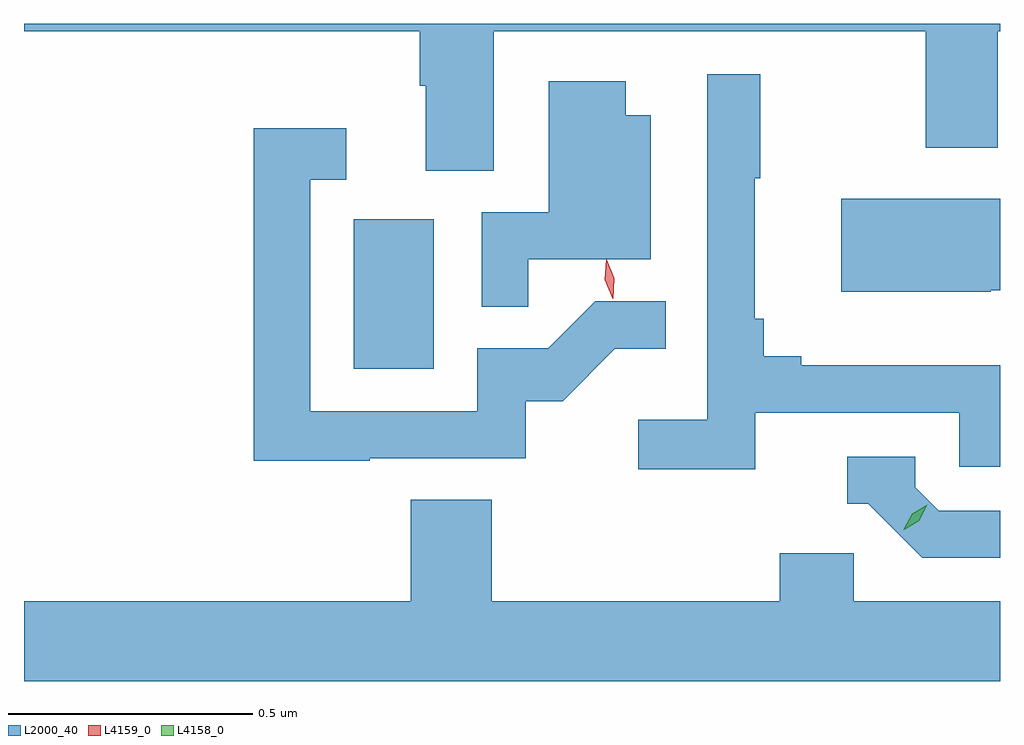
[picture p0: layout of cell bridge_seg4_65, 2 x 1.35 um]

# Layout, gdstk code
import gdstk
lib = gdstk.Library(unit=1e-6, precision=1e-09)
def R(c, l, rs):  # rectangles x0, y0, x1, y1
    for r in rs: c.add(gdstk.rectangle(r[:2], r[2:], *l))
def P(c, l, *ps):  # polygons
    for p in ps: c.add(gdstk.Polygon(p, *l))
L2000_40 = (2000, 40)
L4158_0 = (4158, 0)
L4159_0 = (4159, 0)

bridge_seg4_65 = lib.new_cell('bridge_seg4_65')
R(bridge_seg4_65, L2000_40, [(839.312,832.092,839.476,832.399)])
P(bridge_seg4_65, L2000_40, [(839.599,832.784),(840.484,832.784),(840.484,832.545),(840.631,832.545),(840.631,832.784),(840.636,832.784),(840.636,832.799),(838.636,832.799),(838.636,832.784),(839.447,832.784),(839.447,832.672),(839.459,832.672),(839.459,832.498),(839.599,832.498)],
  [(840.134,832.002),(840.552,832.002),(840.552,831.891),(840.636,831.891),(840.636,832.099),(840.229,832.099),(840.229,832.118),(840.152,832.118),(840.152,832.195),(840.133,832.195),(840.133,832.483),(840.145,832.483),(840.145,832.696),(840.036,832.696),(840.036,831.988),(839.895,831.988),(839.895,831.886),(840.134,831.886)],
  [(839.669,832.317),(839.92,832.317),(839.92,832.612),(839.869,832.612),(839.869,832.681),(839.711,832.681),(839.711,832.413),(839.574,832.413),(839.574,832.219),(839.669,832.219)],
  [(839.345,831.909),(839.664,831.909),(839.664,832.026),(839.74,832.026),(839.847,832.133),(839.951,832.133),(839.951,832.231),(839.807,832.231),(839.71,832.134),(839.565,832.134),(839.565,832.005),(839.223,832.005),(839.223,832.479),(839.296,832.479),(839.296,832.585),(839.107,832.585),(839.107,831.904),(839.345,831.904)],
  [(840.617,832.253),(840.636,832.253),(840.636,832.441),(840.311,832.441),(840.311,832.25),(840.617,832.25)],
  [(840.636,831.801),(840.51,831.801),(840.462,831.849),(840.462,831.912),(840.323,831.912),(840.323,831.816),(840.366,831.816),(840.477,831.705),(840.636,831.705)],
  [(840.636,831.616),(840.336,831.616),(840.336,831.714),(840.185,831.714),(840.185,831.616),(839.594,831.616),(839.594,831.824),(839.429,831.824),(839.429,831.616),(838.636,831.616),(838.636,831.452),(840.636,831.452)])
P(bridge_seg4_65, L4158_0, [(840.439,831.762),(840.439,831.763),(840.456,831.795),(840.487,831.814),(840.487,831.814),(840.487,831.814),(840.471,831.781),(840.44,831.762)])
P(bridge_seg4_65, L4159_0, [(839.842,832.236),(839.826,832.275),(839.829,832.316),(839.829,832.317),(839.83,832.316),(839.846,832.278),(839.843,832.236),(839.843,832.236)])

lib.write_gds('bridge_seg4_65.gds')
